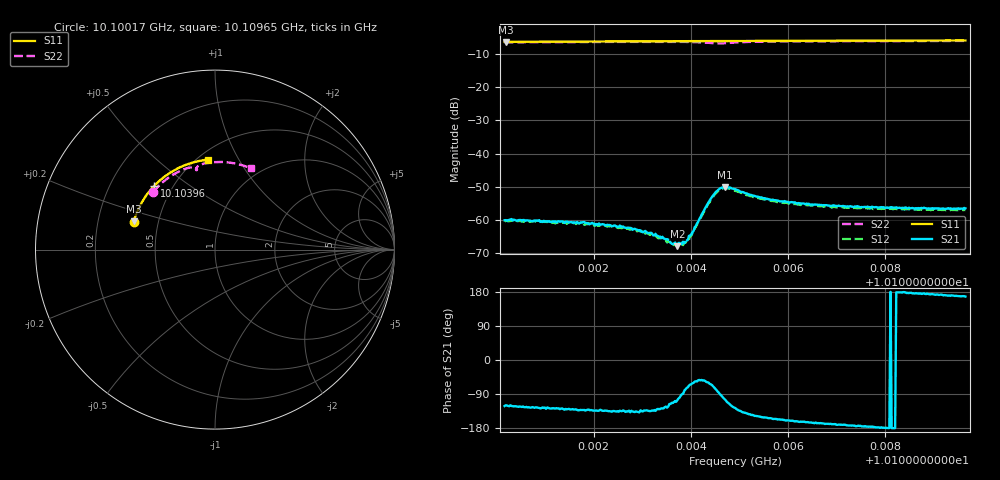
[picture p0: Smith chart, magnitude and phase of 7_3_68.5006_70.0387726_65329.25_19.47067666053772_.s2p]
#  HZ  S  RI  R  50.00
! Rohde & Schwarz Vector Network Analyzer
! Rohde-Schwarz,ZNB20-2Port,1311601062101988,3.16
! Created: UTC 3/20/2024, 5:04:01 PM
! freq[Hz]  re:S11  im:S11  re:S21  im:S21  re:S12  im:S12  re:S22  im:S22
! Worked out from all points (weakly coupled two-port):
!   401 points, 10.10017 GHz to 10.10965 GHz, reference 50 ohm
!   highest |S21| = -50.06 dB at 10.1047 GHz (marker M1); lowest = -67.9 dB at 10.10372 GHz (marker M2)
!   lowest |S11| = -6.4 dB at 10.10019 GHz (marker M3), VSWR 2.84, Z = 18.1 + j7.34 ohm
!   |S11| at or under -10 dB: nowhere
!   |S22| runs from -6.9 to -6.1 dB; largest |S21 - S12| = 0.00032
!   S11 on the Smith chart (normalised r, x): 10.10017 GHz: 0.36, +0.15; 10.10396 GHz: 0.40, +0.37; 10.10965 GHz: 0.56, +0.76
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1.0100165e10  -0.4531 0.1553  -0.000518 -0.000848  -0.00042 -0.000851  -0.3432 0.3232
1.0100189e10  -0.4526 0.1567  -0.00049 -0.000869  -0.000425 -0.00088  -0.3423 0.3244
1.0101755e10  -0.4175 0.2452  -0.000609 -0.000678  -0.000524 -0.00071  -0.2683 0.3937
1.0102585e10  -0.392 0.2887  -0.000562 -0.000562  -0.000493 -0.000571  -0.2229 0.4237
1.0102822e10  -0.3838 0.3005  -0.000533 -0.000503  -0.000464 -0.000542  -0.2092 0.4313
1.0103344e10  -0.3647 0.326  -0.000358 -0.000431  -0.000306 -0.000432  -0.1771 0.446
1.010351e10  -0.3583 0.3336  -0.000304 -0.00042  -0.000209 -0.000408  -0.1662 0.45
1.0103676e10  -0.3516 0.3412  -0.000144 -0.000436  -9.61e-05 -0.000428  -0.1551 0.4538
1.0103724e10  -0.3497 0.3434  -0.000108 -0.00039  -6.98e-05 -0.000411  -0.1517 0.4546
1.0103843e10  -0.3448 0.3487  6.39e-06 -0.000487  6.52e-05 -0.000415  -0.1432 0.4566
1.0103961e10  -0.3399 0.3539  0.000219 -0.000533  0.000216 -0.00045  -0.1341 0.4581
1.0104056e10  -0.3361 0.3581  0.000339 -0.000593  0.000382 -0.000538  -0.1268 0.4585
1.0104317e10  -0.3247 0.3691  0.000859 -0.00136  0.000932 -0.00121  -0.1067 0.4541
1.0104459e10  -0.3184 0.3749  0.000827 -0.00219  0.000976 -0.00204  -0.1006 0.447
1.0104578e10  -0.3131 0.3798  0.000172 -0.00289  0.000456 -0.00278  -0.1018 0.4424
1.0104697e10  -0.3079 0.3846  -0.000733 -0.00306  -0.000462 -0.00298  -0.1052 0.4445
1.010491e10  -0.2982 0.393  -0.00173 -0.00235  -0.00146 -0.00233  -0.1018 0.4577
1.0105242e10  -0.2823 0.4056  -0.00196 -0.00137  -0.00174 -0.0015  -0.0811 0.4724
1.0105598e10  -0.265 0.4183  -0.00183 -0.000911  -0.0017 -0.00103  -0.0567 0.4803
1.01065e10  -0.2184 0.4467  -0.00166 -0.000422  -0.0016 -0.000549  0.00365 0.4882
1.0108089e10  -0.1297 0.4834  -0.00153 -1e-05  -0.00146 -0.000162  0.1059 0.4807
1.0109655e10  -0.0368 0.5016  -0.00146 0.000323  -0.00141 0.000129  0.2014 0.4524
